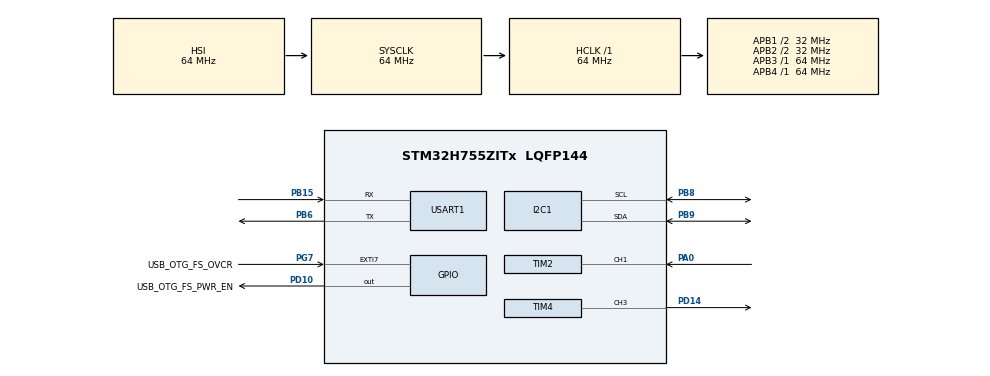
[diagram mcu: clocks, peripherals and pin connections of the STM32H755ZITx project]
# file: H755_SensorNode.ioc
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CortexM4.IPs=FATFS_M4\:I,FREERTOS_M4\:I,IWDG2\:I,RCC,WWDG2\:I,DMA,BDMA,MDMA,NVIC2\:I,USART3,DEBUG,PDM2PCM_M4\:I,PWR,RESMGR_UTILITY,SYS_M4\:I,USB_DEVICE_M4\:I,USB_HOST_M4\:I,CORTEX_M4\:I,GPIO,OPENAMP_M4\:I,VREFBUF,NUCLEO-H755ZI-Q
CortexM7.IPs=FATFS_M7\:I,FREERTOS_M7\:I,IWDG1\:I,RCC\:I,WWDG1\:I,DMA\:I,BDMA\:I,MDMA\:I,NVIC1\:I,USART3\:I,SYS\:I,CORTEX_M7\:I,DEBUG\:I,PDM2PCM_M7\:I,PWR\:I,RESMGR_UTILITY\:I,USB_DEVICE_M7\:I,USB_HOST_M7\:I,GPIO\:I,OPENAMP_M7\:I,VREFBUF\:I,NUCLEO-H755ZI-Q\:I,I2C1\:I,TIM2\:I,TIM4\:I,USART1\:I
Dma.Request0=USART1_TX
Dma.USART1_TX.0.Direction=DMA_MEMORY_TO_PERIPH
Dma.USART1_TX.0.EventEnable=DISABLE
Dma.USART1_TX.0.FIFOMode=DMA_FIFOMODE_DISABLE
Dma.USART1_TX.0.Instance=DMA1_Stream0
Dma.USART1_TX.0.MemDataAlignment=DMA_MDATAALIGN_BYTE
Dma.USART1_TX.0.MemInc=DMA_MINC_ENABLE
Dma.USART1_TX.0.Mode=DMA_NORMAL
Dma.USART1_TX.0.PeriphDataAlignment=DMA_PDATAALIGN_BYTE
Dma.USART1_TX.0.PeriphInc=DMA_PINC_DISABLE
Dma.USART1_TX.0.Polarity=HAL_DMAMUX_REQ_GEN_RISING
Dma.USART1_TX.0.Priority=DMA_PRIORITY_LOW
Dma.USART1_TX.0.RequestNumber=1
Dma.USART1_TX.0.SignalID=NONE
Dma.USART1_TX.0.SyncEnable=DISABLE
Dma.USART1_TX.0.SyncPolarity=HAL_DMAMUX_SYNC_NO_EVENT
Dma.USART1_TX.0.SyncRequestNumber=1
Dma.USART1_TX.0.SyncSignalID=NONE
I2C1.Timing=0x00707CBB
Mcu.Family=STM32H7
Mcu.Name=STM32H755ZITx
Mcu.Package=LQFP144
NUCLEO-H755ZI-Q.BUTTON=1
NUCLEO-H755ZI-Q.LD1=true
NUCLEO-H755ZI-Q.LD2=true
NUCLEO-H755ZI-Q.LD3=true
NUCLEO-H755ZI-Q.VCP=true
NVIC1.DMA1_Stream0_IRQn=true\:0\:0\:false\:false\:true\:false\:true\:true
NVIC1.EXTI15_10_IRQn=true\:0\:0\:false\:false\:true\:false\:true\:true
NVIC1.PriorityGroup=NVIC_PRIORITYGROUP_4
NVIC1.TIM2_IRQn=true\:0\:0\:false\:false\:true\:true\:true\:true
NVIC1.USART1_IRQn=true\:0\:0\:false\:false\:true\:true\:true\:true
NVIC2.PriorityGroup=NVIC_PRIORITYGROUP_4
PA0.PinAttribute=CortexM7
PA0.Signal=S_TIM2_CH1_ETR
PA1.PinAttribute=CortexM4
PA1.Signal=ETH_REF_CLK
PA11.PinAttribute=CortexM7
PA11.Signal=USB_OTG_FS_DM
PA12.PinAttribute=CortexM7
PA12.Signal=USB_OTG_FS_DP
PA2.PinAttribute=CortexM4
PA2.Signal=ETH_MDIO
PA7.PinAttribute=CortexM4
PA7.Signal=ETH_CRS_DV
PA8.PinAttribute=CortexM7
PA8.Signal=USB_OTG_FS_SOF
PA9.PinAttribute=CortexM7
PA9.Signal=USB_OTG_FS_VBUS
PB13.PinAttribute=CortexM4
PB13.Signal=ETH_TXD1
PB15.Mode=Asynchronous
PB15.PinAttribute=CortexM7
PB15.Signal=USART1_RX
PB6.Mode=Asynchronous
PB6.PinAttribute=CortexM7
PB6.Signal=USART1_TX
PB8.Mode=I2C
PB8.PinAttribute=CortexM7
PB8.Signal=I2C1_SCL
PB9.Mode=I2C
PB9.PinAttribute=CortexM7
PB9.Signal=I2C1_SDA
PC1.PinAttribute=CortexM4
PC1.Signal=ETH_MDC
PC14-OSC32_IN\ (OSC32_IN).PinAttribute=Free
PC14-OSC32_IN\ (OSC32_IN).Signal=RCC_OSC32_IN
PC15-OSC32_OUT\ (OSC32_OUT).PinAttribute=Free
PC15-OSC32_OUT\ (OSC32_OUT).Signal=RCC_OSC32_OUT
PC4.PinAttribute=CortexM4
PC4.Signal=ETH_RXD0
PC5.PinAttribute=CortexM4
PC5.Signal=ETH_RXD1
PD10.GPIO_Label=USB_OTG_FS_PWR_EN
PD10.PinAttribute=Free
PD10.Signal=GPIO_Output
PD14.PinAttribute=CortexM7
PD14.Signal=S_TIM4_CH3
PD8.Signal=USART3_TX
PD9.Signal=USART3_RX
PG11.PinAttribute=CortexM4
PG11.Signal=ETH_TX_EN
PG13.PinAttribute=CortexM4
PG13.Signal=ETH_TXD0
PG7.GPIO_Label=USB_OTG_FS_OVCR
PG7.PinAttribute=Free
PG7.Signal=GPXTI7
PH0-OSC_IN\ (PH0).PinAttribute=Free
PH0-OSC_IN\ (PH0).Signal=RCC_OSC_IN
PH1-OSC_OUT\ (PH1).PinAttribute=Free
PH1-OSC_OUT\ (PH1).Signal=RCC_OSC_OUT
ProjectManager.HeapSize=M4-0x200,M7-0x200
ProjectManager.StackSize=M4-0x400,M7-0x400
ProjectManager.TargetToolchain=STM32CubeIDE
RCC.ADCFreq_Value=129000000
RCC.APB1Freq_Value=32000000
RCC.APB2Freq_Value=32000000
RCC.APB3Freq_Value=64000000
RCC.APB4Freq_Value=64000000
RCC.CortexFreq_Value=64000000
RCC.D2PPRE1=RCC_APB1_DIV2
RCC.D2PPRE2=RCC_APB2_DIV2
RCC.DIVM1=5
RCC.DIVN1=48
RCC.DIVQ1=5
RCC.HCLKFreq_Value=64000000
RCC.PLL2FRACN=0
RCC.PLL3FRACN=0
RCC.PLLFRACN=0
RCC.SYSCLKFreq_VALUE=64000000
RCC.SupplySource=PWR_DIRECT_SMPS_SUPPLY
RCC.USBFreq_Value=122880000
SH.S_TIM2_CH1_ETR.0=TIM2_CH1,Input_Capture1_from_TI1
SH.S_TIM4_CH3.0=TIM4_CH3,PWM Generation3 CH3
TIM2.Channel-Input_Capture1_from_TI1=TIM_CHANNEL_1
TIM2.Prescaler=63
TIM4.Channel-PWM\ Generation3\ CH3=TIM_CHANNEL_3
TIM4.Period=999
TIM4.Prescaler=63
USART1.VirtualMode-Asynchronous=VM_ASYNC
VP_NUCLEO-H755ZI-Q_VS_BSP_COMMON.Mode=COMMON
VP_SYS_M4_VS_Systick.Mode=SysTick
VP_TIM2_VS_ClockSourceINT.Mode=Internal
VP_TIM4_VS_ClockSourceINT.Mode=Internal
board=NUCLEO-H755ZI-Q

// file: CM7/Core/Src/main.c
/* USER CODE BEGIN Header */
/**
  ******************************************************************************
  * @file           : main.c
  * @brief          : H755 Sensor UART Transmitter
  ******************************************************************************
  */
/* USER CODE END Header */

#include "main.h"
#include "dma.h"
#include "i2c.h"
#include "tim.h"
#include "usart.h"
#include "gpio.h"

/* USER CODE BEGIN Includes */
#include "sensor_manager.h"
#include <stdio.h>
#include <stdint.h>
/* USER CODE END Includes */

/* USER CODE BEGIN PD */

#define DUAL_CORE_BOOT_SYNC_SEQUENCE

#if defined(DUAL_CORE_BOOT_SYNC_SEQUENCE)

#ifndef HSEM_ID_0
#define HSEM_ID_0 (0U)
#endif

#endif

/* USER CODE END PD */

/* USER CODE BEGIN PV */

static SensorData_t sensorData;

static char uartTxBuffer[128];

volatile uint32_t uartTxOkCount = 0U;
volatile uint32_t uartTxErrorCount = 0U;

/* USER CODE END PV */

void SystemClock_Config(void);

/* USER CODE BEGIN PFP */

static int32_t FloatToX10(float value);

/* USER CODE END PFP */

/* USER CODE BEGIN 0 */

/*
 * Float degeri 10 ile carpip en yakin tam sayiya yuvarlar.
 *
 * 25.44  -> 254
 * 52.18  -> 522
 * 1003.0 -> 10030
 */
static int32_t FloatToX10(float value)
{
    float scaled = value * 10.0f;

    if (scaled >= 0.0f)
    {
        scaled += 0.5f;
    }
    else
    {
        scaled -= 0.5f;
    }

    return (int32_t)scaled;
}

/* USER CODE END 0 */

int main(void)
{
    /* USER CODE BEGIN Boot_Mode_Sequence_0 */

#if defined(DUAL_CORE_BOOT_SYNC_SEQUENCE)

    int32_t timeout;

#endif

    /* USER CODE END Boot_Mode_Sequence_0 */

    /* USER CODE BEGIN Boot_Mode_Sequence_1 */

#if defined(DUAL_CORE_BOOT_SYNC_SEQUENCE)

    timeout = 0xFFFF;

    while ((__HAL_RCC_GET_FLAG(RCC_FLAG_D2CKRDY) != RESET) &&
           (timeout-- > 0))
    {
    }

    if (timeout < 0)
    {
        Error_Handler();
    }

#endif

    /* USER CODE END Boot_Mode_Sequence_1 */

    /* MCU Configuration--------------------------------------------------------*/

    HAL_Init();

    SystemClock_Config();

    /* USER CODE BEGIN Boot_Mode_Sequence_2 */

#if defined(DUAL_CORE_BOOT_SYNC_SEQUENCE)

    __HAL_RCC_HSEM_CLK_ENABLE();

    HAL_HSEM_FastTake(HSEM_ID_0);

    HAL_HSEM_Release(HSEM_ID_0, 0);

    timeout = 0xFFFF;

    while ((__HAL_RCC_GET_FLAG(RCC_FLAG_D2CKRDY) == RESET) &&
           (timeout-- > 0))
    {
    }

    if (timeout < 0)
    {
        Error_Handler();
    }

#endif

    /* USER CODE END Boot_Mode_Sequence_2 */

    /* Initialize all configured peripherals */

    MX_GPIO_Init();

    MX_DMA_Init();

    MX_I2C1_Init();

    MX_TIM2_Init();

    MX_TIM4_Init();

    /*
     * USART1
     * TX = PB6
     * Baud = 115200
     */
    MX_USART1_UART_Init();

    /* USER CODE BEGIN 2 */

    HAL_Delay(500);

    /*
     * TH09C + BMP180 + TCS34725
     * daha once calisan SensorManager
     */
    SensorManager_Init(&hi2c1);

    HAL_Delay(500);

    /* USER CODE END 2 */

    /* Infinite loop */
    /* USER CODE BEGIN WHILE */

    while (1)
    {
        int32_t temperature10;
        int32_t humidity10;
        int32_t pressure10;

        int length;

        /*
         * Tum sensorleri oku.
         *
         * sensorData:
         * temperature
         * humidity
         * pressure
         * red
         * green
         * blue
         * clear
         */
        SensorManager_ReadAll(&hi2c1, &sensorData);

        temperature10 = FloatToX10(sensorData.temperature);
        humidity10    = FloatToX10(sensorData.humidity);
        pressure10    = FloatToX10(sensorData.pressure);

        /*
         * UART paket formati:
         *
         * $TEMP,HUM,PRESS,R,G,B,CLEAR*\r\n
         *
         * Ornek:
         *
         * $254,522,10030,31,41,32,101*
         */
        length = snprintf(
            uartTxBuffer,
            sizeof(uartTxBuffer),
            "$%ld,%ld,%ld,%u,%u,%u,%u*\r\n",

            (long)temperature10,
            (long)humidity10,
            (long)pressure10,

            (unsigned int)sensorData.red,
            (unsigned int)sensorData.green,
            (unsigned int)sensorData.blue,
            (unsigned int)sensorData.clear
        );

        /*
         * Paketi H755 PB6 / USART1_TX uzerinden F746'ya gonder.
         */
        if ((length > 0) &&
            (length < (int)sizeof(uartTxBuffer)))
        {
            HAL_StatusTypeDef status;

            status = HAL_UART_Transmit(
                &huart1,
                (uint8_t *)uartTxBuffer,
                (uint16_t)length,
                100U
            );

            if (status == HAL_OK)
            {
                uartTxOkCount++;
            }
            else
            {
                uartTxErrorCount++;
            }
        }
        else
        {
            uartTxErrorCount++;
        }

        /*
         * 500 ms'de bir yeni sensor paketi
         */
        HAL_Delay(500);
    }

    /* USER CODE END WHILE */
}

void SystemClock_Config(void)
{
    RCC_OscInitTypeDef RCC_OscInitStruct = {0};

    RCC_ClkInitTypeDef RCC_ClkInitStruct = {0};

    HAL_PWREx_ConfigSupply(PWR_DIRECT_SMPS_SUPPLY);

    __HAL_PWR_VOLTAGESCALING_CONFIG(PWR_REGULATOR_VOLTAGE_SCALE3);

    while (!__HAL_PWR_GET_FLAG(PWR_FLAG_VOSRDY))
    {
    }

    RCC_OscInitStruct.OscillatorType =
        RCC_OSCILLATORTYPE_HSI;

    RCC_OscInitStruct.HSIState =
        RCC_HSI_DIV1;

    RCC_OscInitStruct.HSICalibrationValue =
        RCC_HSICALIBRATION_DEFAULT;

    RCC_OscInitStruct.PLL.PLLState =
        RCC_PLL_NONE;

    if (HAL_RCC_OscConfig(&RCC_OscInitStruct) != HAL_OK)
    {
        Error_Handler();
    }

    RCC_ClkInitStruct.ClockType =
        RCC_CLOCKTYPE_HCLK |
        RCC_CLOCKTYPE_SYSCLK |
        RCC_CLOCKTYPE_PCLK1 |
        RCC_CLOCKTYPE_PCLK2 |
        RCC_CLOCKTYPE_D3PCLK1 |
        RCC_CLOCKTYPE_D1PCLK1;

    RCC_ClkInitStruct.SYSCLKSource =
        RCC_SYSCLKSOURCE_HSI;

    RCC_ClkInitStruct.SYSCLKDivider =
        RCC_SYSCLK_DIV1;

    RCC_ClkInitStruct.AHBCLKDivider =
        RCC_HCLK_DIV1;

    RCC_ClkInitStruct.APB3CLKDivider =
        RCC_APB3_DIV1;

    RCC_ClkInitStruct.APB1CLKDivider =
        RCC_APB1_DIV2;

    RCC_ClkInitStruct.APB2CLKDivider =
        RCC_APB2_DIV2;

    RCC_ClkInitStruct.APB4CLKDivider =
        RCC_APB4_DIV1;

    if (HAL_RCC_ClockConfig(
            &RCC_ClkInitStruct,
            FLASH_LATENCY_1) != HAL_OK)
    {
        Error_Handler();
    }
}

void Error_Handler(void)
{
    __disable_irq();

    while (1)
    {
    }
}
